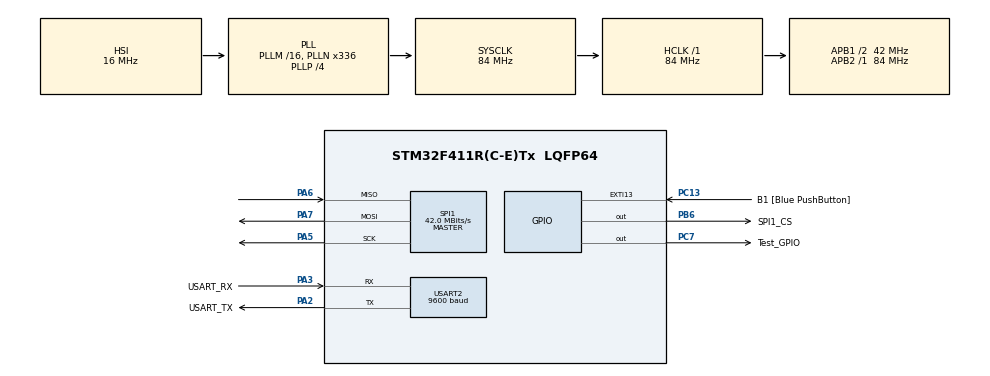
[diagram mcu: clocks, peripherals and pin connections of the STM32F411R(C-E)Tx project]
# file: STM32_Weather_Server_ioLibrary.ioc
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Dma.Request0=SPI1_TX
Dma.Request1=SPI1_RX
Dma.SPI1_RX.1.Direction=DMA_PERIPH_TO_MEMORY
Dma.SPI1_RX.1.FIFOMode=DMA_FIFOMODE_DISABLE
Dma.SPI1_RX.1.Instance=DMA2_Stream0
Dma.SPI1_RX.1.MemDataAlignment=DMA_MDATAALIGN_BYTE
Dma.SPI1_RX.1.MemInc=DMA_MINC_ENABLE
Dma.SPI1_RX.1.Mode=DMA_NORMAL
Dma.SPI1_RX.1.PeriphDataAlignment=DMA_PDATAALIGN_BYTE
Dma.SPI1_RX.1.PeriphInc=DMA_PINC_DISABLE
Dma.SPI1_RX.1.Priority=DMA_PRIORITY_HIGH
Dma.SPI1_TX.0.Direction=DMA_MEMORY_TO_PERIPH
Dma.SPI1_TX.0.FIFOMode=DMA_FIFOMODE_DISABLE
Dma.SPI1_TX.0.Instance=DMA2_Stream2
Dma.SPI1_TX.0.MemDataAlignment=DMA_MDATAALIGN_BYTE
Dma.SPI1_TX.0.MemInc=DMA_MINC_ENABLE
Dma.SPI1_TX.0.Mode=DMA_NORMAL
Dma.SPI1_TX.0.PeriphDataAlignment=DMA_PDATAALIGN_BYTE
Dma.SPI1_TX.0.PeriphInc=DMA_PINC_DISABLE
Dma.SPI1_TX.0.Priority=DMA_PRIORITY_HIGH
Mcu.Family=STM32F4
Mcu.Name=STM32F411R(C-E)Tx
Mcu.Package=LQFP64
NVIC.DMA2_Stream0_IRQn=true\:0\:0\:false\:false\:true\:false\:true\:true
NVIC.DMA2_Stream2_IRQn=true\:0\:0\:false\:false\:true\:false\:true\:true
NVIC.PriorityGroup=NVIC_PRIORITYGROUP_0
NVIC.SPI1_IRQn=true\:0\:0\:true\:false\:true\:true\:true\:true
PA13.GPIO_Label=TMS
PA13.Mode=Serial_Wire
PA13.Signal=SYS_JTMS-SWDIO
PA14.GPIO_Label=TCK
PA14.Mode=Serial_Wire
PA14.Signal=SYS_JTCK-SWCLK
PA2.GPIO_Label=USART_TX
PA2.Mode=Asynchronous
PA2.Signal=USART2_TX
PA3.GPIO_Label=USART_RX
PA3.Mode=Asynchronous
PA3.Signal=USART2_RX
PA5.Mode=Full_Duplex_Master
PA5.Signal=SPI1_SCK
PA6.Mode=Full_Duplex_Master
PA6.Signal=SPI1_MISO
PA7.Mode=Full_Duplex_Master
PA7.Signal=SPI1_MOSI
PB3.GPIO_Label=SWO
PB3.Signal=SYS_JTDO-SWO
PB6.GPIO_Label=SPI1_CS
PB6.Signal=GPIO_Output
PC13-ANTI_TAMP.GPIO_Label=B1 [Blue PushButton]
PC13-ANTI_TAMP.GPIO_ModeDefaultEXTI=GPIO_MODE_IT_FALLING
PC13-ANTI_TAMP.Signal=GPXTI13
PC14-OSC32_IN.Signal=RCC_OSC32_IN
PC15-OSC32_OUT.Signal=RCC_OSC32_OUT
PC7.GPIO_Label=Test_GPIO
PC7.GPIO_Speed=GPIO_SPEED_FREQ_VERY_HIGH
PC7.Signal=GPIO_Output
PH0\ -\ OSC_IN.Signal=RCC_OSC_IN
PH1\ -\ OSC_OUT.Signal=RCC_OSC_OUT
ProjectManager.HeapSize=0x200
ProjectManager.StackSize=0x400
ProjectManager.TargetToolchain=MDK-ARM V5.32
RCC.48MHZClocksFreq_Value=84000000
RCC.AHBFreq_Value=84000000
RCC.APB1CLKDivider=RCC_HCLK_DIV2
RCC.APB1Freq_Value=42000000
RCC.APB1TimFreq_Value=84000000
RCC.APB2Freq_Value=84000000
RCC.APB2TimFreq_Value=84000000
RCC.CortexFreq_Value=84000000
RCC.FLatency-AdvancedSettings=FLASH_LATENCY_2
RCC.HCLKFreq_Value=84000000
RCC.HSE_VALUE=8000000
RCC.HSI_VALUE=16000000
RCC.PLLN=336
RCC.PLLP=RCC_PLLP_DIV4
RCC.SYSCLKFreq_VALUE=84000000
RCC.SYSCLKSource=RCC_SYSCLKSOURCE_PLLCLK
RCC.VCOOutputFreq_Value=336000000
SPI1.BaudRatePrescaler=SPI_BAUDRATEPRESCALER_2
SPI1.CLKPhase=SPI_PHASE_1EDGE
SPI1.CLKPolarity=SPI_POLARITY_LOW
SPI1.CalculateBaudRate=42.0 MBits/s
SPI1.Direction=SPI_DIRECTION_2LINES
SPI1.Mode=SPI_MODE_MASTER
SPI1.VirtualType=VM_MASTER
USART2.BaudRate=9600
USART2.VirtualMode=VM_ASYNC
board=NUCLEO-F411RE

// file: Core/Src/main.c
/* USER CODE BEGIN Header */
/**
  ******************************************************************************
  * @file           : main.c
  * @brief          : Main program body
  ******************************************************************************
  * @attention
  *
  * Copyright (c) 2023 STMicroelectronics.
  * All rights reserved.
  *
  * This software is licensed under terms that can be found in the LICENSE file
  * in the root directory of this software component.
  * If no LICENSE file comes with this software, it is provided AS-IS.
  *
  ******************************************************************************
  */
/* USER CODE END Header */
#include "main.h"

/* USER CODE BEGIN Includes */
#include <stdio.h>
#include <stdarg.h>
#include "wizchip_conf.h"
#include "w5x00_spi.h"
#include "socket.h"
#include "httpserver.h"
/* USER CODE END Includes */

/* USER CODE BEGIN PD */
#define PUTCHAR_PROTOTYPE int fputc(int ch, FILE *f)

#define HTTP_SOCKET 0
#define HTTP_PORT 80
/* USER CODE END PD */

SPI_HandleTypeDef hspi1;
DMA_HandleTypeDef hdma_spi1_tx;
DMA_HandleTypeDef hdma_spi1_rx;

UART_HandleTypeDef huart2;

/* USER CODE BEGIN PV */
static wiz_NetInfo g_net_info =
    {
        .mac = {0x00, 0x08, 0xDC, 0x12, 0x34, 0x56}, // MAC address
        .ip = {192, 168, 0, 102},                     // IP address
        .sn = {255, 255, 255, 0},                    // Subnet Mask
        .gw = {192, 168, 2, 1},                     // Gateway
        .dns = {8, 8, 8, 8},                         // DNS server
        .dhcp = NETINFO_STATIC                       // DHCP enable/disable
};

char req[256], res[2048];
SensorData_t sensor_data;

/* USER CODE END PV */

void SystemClock_Config(void);
static void MX_GPIO_Init(void);
static void MX_DMA_Init(void);
static void MX_SPI1_Init(void);
static void MX_USART2_UART_Init(void);

int main(void)
{
  /* USER CODE BEGIN 1 */
  int ret;
  int size;
  /* USER CODE END 1 */

  /* MCU Configuration--------------------------------------------------------*/

  /* Reset of all peripherals, Initializes the Flash interface and the Systick. */
  HAL_Init();

  /* Configure the system clock */
  SystemClock_Config();

  /* Initialize all configured peripherals */
  MX_GPIO_Init();
  MX_DMA_Init();
  MX_SPI1_Init();
  MX_USART2_UART_Init();
  /* USER CODE BEGIN 2 */
  HAL_Delay(500);
  printf("Loopback Test\r\n");

	wizchip_spi_initialize();
	//wizchip_cris_initialize();
	wizchip_reset();
	wizchip_initialize();
	wizchip_check();

  network_initialize(g_net_info);
  print_network_information(g_net_info);
  /* USER CODE END 2 */

  /* Infinite loop */
  while (1)
  {

    /* USER CODE BEGIN 3 */
    switch(getSn_SR(HTTP_SOCKET))
    {
      case SOCK_ESTABLISHED :
      if(getSn_IR(HTTP_SOCKET) & Sn_IR_CON)
      {
        setSn_IR(HTTP_SOCKET,Sn_IR_CON);
      }
      if((size = getSn_RX_RSR(HTTP_SOCKET)) > 0) // Don't need to check SOCKERR_BUSY because it doesn't not occur.
      {
        recv(HTTP_SOCKET, req, size);
        size = getResHttp(req, res, &sensor_data);
        send(HTTP_SOCKET, res, size);
        close(HTTP_SOCKET);
      }
      break;

      case SOCK_CLOSE_WAIT :
      disconnect(HTTP_SOCKET);
      break;

      case SOCK_INIT :
      listen(HTTP_SOCKET);
      break;

      case SOCK_CLOSED:
      socket(HTTP_SOCKET, Sn_MR_TCP, HTTP_PORT, 0x00);
      break;

      default:
      break;
    }
  }
    /* USER CODE END 3 */
}

void SystemClock_Config(void)
{
  RCC_OscInitTypeDef RCC_OscInitStruct = {0};
  RCC_ClkInitTypeDef RCC_ClkInitStruct = {0};

  /** Configure the main internal regulator output voltage
  */
  __HAL_RCC_PWR_CLK_ENABLE();
  __HAL_PWR_VOLTAGESCALING_CONFIG(PWR_REGULATOR_VOLTAGE_SCALE1);

  /** Initializes the RCC Oscillators according to the specified parameters
  * in the RCC_OscInitTypeDef structure.
  */
  RCC_OscInitStruct.OscillatorType = RCC_OSCILLATORTYPE_HSI;
  RCC_OscInitStruct.HSIState = RCC_HSI_ON;
  RCC_OscInitStruct.HSICalibrationValue = RCC_HSICALIBRATION_DEFAULT;
  RCC_OscInitStruct.PLL.PLLState = RCC_PLL_ON;
  RCC_OscInitStruct.PLL.PLLSource = RCC_PLLSOURCE_HSI;
  RCC_OscInitStruct.PLL.PLLM = 16;
  RCC_OscInitStruct.PLL.PLLN = 336;
  RCC_OscInitStruct.PLL.PLLP = RCC_PLLP_DIV4;
  RCC_OscInitStruct.PLL.PLLQ = 4;
  if (HAL_RCC_OscConfig(&RCC_OscInitStruct) != HAL_OK)
  {
    Error_Handler();
  }

  /** Initializes the CPU, AHB and APB buses clocks
  */
  RCC_ClkInitStruct.ClockType = RCC_CLOCKTYPE_HCLK|RCC_CLOCKTYPE_SYSCLK
                              |RCC_CLOCKTYPE_PCLK1|RCC_CLOCKTYPE_PCLK2;
  RCC_ClkInitStruct.SYSCLKSource = RCC_SYSCLKSOURCE_PLLCLK;
  RCC_ClkInitStruct.AHBCLKDivider = RCC_SYSCLK_DIV1;
  RCC_ClkInitStruct.APB1CLKDivider = RCC_HCLK_DIV2;
  RCC_ClkInitStruct.APB2CLKDivider = RCC_HCLK_DIV1;

  if (HAL_RCC_ClockConfig(&RCC_ClkInitStruct, FLASH_LATENCY_2) != HAL_OK)
  {
    Error_Handler();
  }
}

static void MX_SPI1_Init(void)
{

  /* SPI1 parameter configuration*/
  hspi1.Instance = SPI1;
  hspi1.Init.Mode = SPI_MODE_MASTER;
  hspi1.Init.Direction = SPI_DIRECTION_2LINES;
  hspi1.Init.DataSize = SPI_DATASIZE_8BIT;
  hspi1.Init.CLKPolarity = SPI_POLARITY_LOW;
  hspi1.Init.CLKPhase = SPI_PHASE_1EDGE;
  hspi1.Init.NSS = SPI_NSS_SOFT;
  hspi1.Init.BaudRatePrescaler = SPI_BAUDRATEPRESCALER_2;
  hspi1.Init.FirstBit = SPI_FIRSTBIT_MSB;
  hspi1.Init.TIMode = SPI_TIMODE_DISABLE;
  hspi1.Init.CRCCalculation = SPI_CRCCALCULATION_DISABLE;
  hspi1.Init.CRCPolynomial = 10;
  if (HAL_SPI_Init(&hspi1) != HAL_OK)
  {
    Error_Handler();
  }

}

static void MX_USART2_UART_Init(void)
{

  huart2.Instance = USART2;
  huart2.Init.BaudRate = 9600;
  huart2.Init.WordLength = UART_WORDLENGTH_8B;
  huart2.Init.StopBits = UART_STOPBITS_1;
  huart2.Init.Parity = UART_PARITY_NONE;
  huart2.Init.Mode = UART_MODE_TX_RX;
  huart2.Init.HwFlowCtl = UART_HWCONTROL_NONE;
  huart2.Init.OverSampling = UART_OVERSAMPLING_16;
  if (HAL_UART_Init(&huart2) != HAL_OK)
  {
    Error_Handler();
  }

}

static void MX_DMA_Init(void)
{

  /* DMA controller clock enable */
  __HAL_RCC_DMA2_CLK_ENABLE();

  /* DMA interrupt init */
  /* DMA2_Stream0_IRQn interrupt configuration */
  HAL_NVIC_SetPriority(DMA2_Stream0_IRQn, 0, 0);
  HAL_NVIC_EnableIRQ(DMA2_Stream0_IRQn);
  /* DMA2_Stream2_IRQn interrupt configuration */
  HAL_NVIC_SetPriority(DMA2_Stream2_IRQn, 0, 0);
  HAL_NVIC_EnableIRQ(DMA2_Stream2_IRQn);

}

static void MX_GPIO_Init(void)
{
  GPIO_InitTypeDef GPIO_InitStruct = {0};

  /* GPIO Ports Clock Enable */
  __HAL_RCC_GPIOC_CLK_ENABLE();
  __HAL_RCC_GPIOH_CLK_ENABLE();
  __HAL_RCC_GPIOA_CLK_ENABLE();
  __HAL_RCC_GPIOB_CLK_ENABLE();

  /*Configure GPIO pin Output Level */
  HAL_GPIO_WritePin(Test_GPIO_GPIO_Port, Test_GPIO_Pin, GPIO_PIN_RESET);

  /*Configure GPIO pin Output Level */
  HAL_GPIO_WritePin(SPI1_CS_GPIO_Port, SPI1_CS_Pin, GPIO_PIN_RESET);

  /*Configure GPIO pin : B1_Pin */
  GPIO_InitStruct.Pin = B1_Pin;
  GPIO_InitStruct.Mode = GPIO_MODE_IT_FALLING;
  GPIO_InitStruct.Pull = GPIO_NOPULL;
  HAL_GPIO_Init(B1_GPIO_Port, &GPIO_InitStruct);

  /*Configure GPIO pin : Test_GPIO_Pin */
  GPIO_InitStruct.Pin = Test_GPIO_Pin;
  GPIO_InitStruct.Mode = GPIO_MODE_OUTPUT_PP;
  GPIO_InitStruct.Pull = GPIO_NOPULL;
  GPIO_InitStruct.Speed = GPIO_SPEED_FREQ_VERY_HIGH;
  HAL_GPIO_Init(Test_GPIO_GPIO_Port, &GPIO_InitStruct);

  /*Configure GPIO pin : SPI1_CS_Pin */
  GPIO_InitStruct.Pin = SPI1_CS_Pin;
  GPIO_InitStruct.Mode = GPIO_MODE_OUTPUT_PP;
  GPIO_InitStruct.Pull = GPIO_NOPULL;
  GPIO_InitStruct.Speed = GPIO_SPEED_FREQ_LOW;
  HAL_GPIO_Init(SPI1_CS_GPIO_Port, &GPIO_InitStruct);

}

/* USER CODE BEGIN 4 */

PUTCHAR_PROTOTYPE
{
    /* Implement your write code here, this is used by puts and printf for example */

    /* Place your implementation of fputc here */
    /* e.g. write a character to the USART */

    uint8_t c[1];
    c[0] = ch & 0x00FF;
    HAL_UART_Transmit(&huart2, &c[0], 1, 10);
    return ch;
}

/* USER CODE END 4 */

void Error_Handler(void)
{
  __disable_irq();
  while (1)
  {
  }
}
